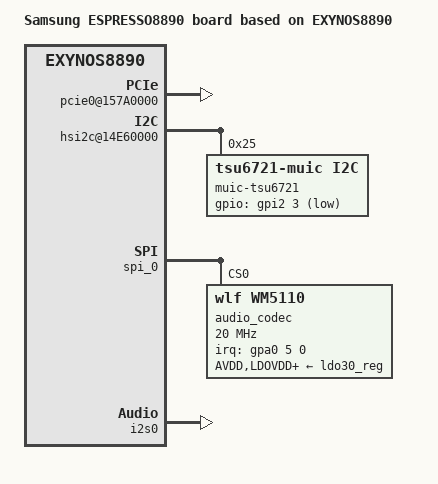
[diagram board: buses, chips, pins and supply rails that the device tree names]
/*
 * SAMSUNG EXYNOS8890 board device tree source
 *
 * Copyright (c) 2013 Samsung Electronics Co., Ltd.
 *		http://www.samsung.com
 *
 * This program is free software; you can redistribute it and/or modify
 * it under the terms of the GNU General Public License version 2 as
 * published by the Free Software Foundation.
*/

/dts-v1/;
#include "exynos8890-board-common.dtsi"

/ {
	model = "Samsung ESPRESSO8890 board based on EXYNOS8890";
	compatible = "samsung,exynos8890", "samsung,ESPRESSO8890";

	ect {
		parameter_address = <0x90000000>;
		parameter_size = <0x19000>;
	};

	dwmmc2@15740000 {
		cd-gpio = <&gpa3 2 0xf>;
		pinctrl-0 = <&sd2_clk &sd2_cmd &sd2_bus1 &sd2_bus4 &dwmmc2_cd_ext_irq>;
	};

	pinctrl@10580000 {
		dwmmc2_cd_ext_irq: dwmmc2_cd_ext_irq {
			   samsung,pins = "gpa3-2";
			   samsung,pin-function = <0xf>;
			   samsung,pin-pud = <0>;
			   samsung,pin-drv = <0>;
		};
		muic_irq: muic-irq {
			samsung,pins = "gpa1-1";
			samsung,pin-function = <0x0>;
			samsung,pin-pud = <0>;
			samsung,pin-drv = <0>;
		};
	};

	decon_f: decon_f@0x13960000 {
		sw_te_wa = <1>;
	};

	pcie0@157A0000 {
		pcie,wlan-gpio = <&gpj1 3 0x1 /* WLAN_EN */ >;
		pcie,bt-gpio = <&gpe7 1 0x1 /* BT_EN */ >;
		status = "okay";
	};

	hsi2c@14E60000 {
		status = "okay";
		muic-tsu6721@25 {
			compatible = "tsu6721-muic,i2c";
			reg = <0x25>;
			pinctrl-names = "default";
			pinctrl-0 = <&muic_irq>;
			muic,muic_int = <&gpa1 1 0>;
			gpios = <&gpi2 3 0x1>;
		};
	};

	spi_0: spi@14d20000 {
		status = "okay";
		audio_codec: wm5110@0 {
			compatible = "wlf,wm5110";
			reg = <0x0>;
			spi-max-frequency = <20000000>;
			interrupts = <5 0 0>;
			interrupt-parent = <&gpa0>;

			gpio-controller;
			#gpio-cells = <2>;

			pinctrl-names ="default";
			pinctrl-0 = <&codec_reset &codec_ldoena>;

			wlf,reset = <&gpe6 5 0>;
			wlf,ldoena = <&gpe6 6 0>;
			wlf,init-mic-delay = <30>;
			wlf,micd-detect-debounce = <300>;
			wlf,micd-bias-start-time = <0x1>;
			wlf,micd-rate = <0x7>;
			wlf,micd-dbtime = <0x1>;
			wlf,micd-timeout = <1000>;
			wlf,micd-force-micbias;
			wlf,micd-ranges = <
				139 226
				295 115
				752 114
				1257 217
			>;

			wlf,micd-configs = <
				0x0 1 0
			>;

			wlf,micbias1 = <2800 0 1 0 0>;
			wlf,micbias2 = <1800 0 1 0 0>;
			wlf,micbias3 = <1800 0 1 0 0>;

			wlf,gpio-defaults = <
				0xA101
				0xA101
				0xA101
				0xA101
				0x8101
			>;

			wlf,gpsw = <0x3>;
			wlf,use-jd-gpio;
			wlf,jd-gpio-nopull;
			wlf,fixed-hpdet-imp = <16>;
			wlf,micd-software-compare;
			wlf,micd-open-circuit-declare = <1>;

			wlf,max-channels-clocked = <2 0 0>;
			/* 0:MICVDD 1:MICBIAS1 2:MICBIAS2 3:MICBIAS3 */
			wlf,dmic-ref = <2 1 3 0>;
			/* 1st cell:IN1 2rd cell:IN2 3nd cell:IN3 4th cell:IN4 */
			wlf,inmode = <0 0 0 0>;

			AVDD-supply = <&ldo30_reg>;
			LDOVDD-supply = <&ldo30_reg>;
			DBVDD1-supply = <&ldo30_reg>;

			CPVDD-supply = <&ldo30_reg>;
			DBVDD2-supply = <&ldo30_reg>;
			DBVDD3-supply = <&ldo30_reg>;
			SPKVDDL-supply = <&ldo30_reg>;
			SPKVDDR-supply = <&ldo30_reg>;

			adsps {
				#address-cells = <1>;
				#size-cells = <0>;

				adsp@1100 {
					reg = <0x1100>;
					firmware {
						EDAC {
							wlf,wmfw-file = "edac";
							wlf,bin-file = "edac";
						};
						TRACE {
							wlf,wmfw-file = "trace";
							wlf,compr-caps = <1 8 0x4 1 8000 16000 24000>;
						};
					};
				};
				adsp@1200 {
					reg = <0x1200>;
					firmware {
						TX_NB {
							wlf,wmfw-file = "tx-nb";
						};
						TX_WB {
							wlf,wmfw-file = "tx-wb";
						};
						TX_SWB_INTERVIEW {
							wlf,wmfw-file = "tx-swb";
						};
						TX_SWB_CONVERSATION {
							wlf,wmfw-file = "tx-swb";
						};
					};
				};
				adsp@1300 {
					reg = <0x1300>;
					firmware {
						TX_NB {
							wlf,wmfw-file = "tx-nb";
							wlf,bin-file = "tx-nb";
						};
						TX_WB {
							wlf,wmfw-file = "tx-wb";
							wlf,bin-file = "tx-wb";
						};
						TX_SWB_INTERVIEW {
							wlf,wmfw-file = "tx-swb";
							wlf,bin-file = "tx-swb-interview";
						};
						TX_SWB_CONVERSATION {
							wlf,wmfw-file = "tx-swb";
							wlf,bin-file = "tx-swb-conversation";
						};
						VOICECONTROL {
							wlf,wmfw-file = "ez2-control";
							wlf,bin-file = "ez2-control";
						};
						LPSD {
							wlf,wmfw-file = "ez2-control";
							wlf,bin-file = "lpsd-control";
						};
					};
				};
				adsp@1400 {
					reg = <0x1400>;
					firmware {
						RX_NB {
							wlf,wmfw-file = "rx-anc-nb";
							wlf,bin-file = "rx-anc-nb";
						};
						RX_WB {
							wlf,wmfw-file = "rx-anc-wb";
							wlf,bin-file = "rx-anc-wb";
						};
					};
				};
			};

			controller-data {
				cs-gpio = <&gpe2 1 0>;
				samsung,spi-feedback-delay = <0>;
			};
		};
	};

	pinctrl@10580000 {
		codec_irq: codec-irq {
			samsung,pins = "gpa0-5";
			samsung,pin-function = <0xf>;
			samsung,pin-pud = <3>;
		};
		codec_irq_idle: codec-irq-idle {
			samsung,pins = "gpa0-5";
			samsung,pin-function = <0x0>;
			samsung,pin-pud = <3>;
		};
	};

	pinctrl@14CC0000 {
		codec_reset: codec-reset {
			samsung,pins ="gpe6-5";
			samsung,pin-function = <1>;
			samsung,pin-pud = <1>;
			samsung,pin-con-pdn =<3>;
			samsung,pin-pud-pdn = <1>;
			samsung,pin-val = <0>;
		};
		codec_ldoena: codec-ldoena {
			samsung,pins ="gpe6-6";
			samsung,pin-function = <1>;
			samsung,pin-pud = <1>;
			samsung,pin-con-pdn =<3>;
			samsung,pin-pud-pdn = <1>;
			samsung,pin-val = <1>;
		};
	};

	i2s0: i2s@11440000 {
		samsung,supports-esa-dma;
		samsung,supports-sec-compr;
		status = "okay";
	};

	audio_codec_dummy: dummy-codec {
		compatible = "samsung,dummy-codec";
		status = "okay";
	};

	i2s_dummy: dummy-i2s {
		compatible = "samsung,dummy-i2s";
		status = "okay";
	};

	audio_cp_dummy: cp_dummy {
		compatible = "samsung,cp_dummy";
		status = "okay";
	};

	sound {
		compatible = "samsung,espresso_wm5110";
		pinctrl-names = "default", "idle";
		pinctrl-0 = <&codec_irq>;
		pinctrl-1 = <&codec_irq_idle>;
		status = "okay";
	};

	fimc_is@14370000 {
	};

	fimc_is_sensor_2p8: fimc-is_sensor_2p8@5A {
	};

	fimc_is_sensor_6b2: fimc-is_sensor_6b2@20 {
	};

	fimc_is_sensor0: fimc_is_sensor@14000000 {
	};

	fimc_is_sensor1: fimc_is_sensor@14100000 {
	};

	fimc_is_sensor2: fimc_is_sensor@14010000 {
	};

	fimc_is_sensor3: fimc_is_sensor@14020000 {
	};
};
